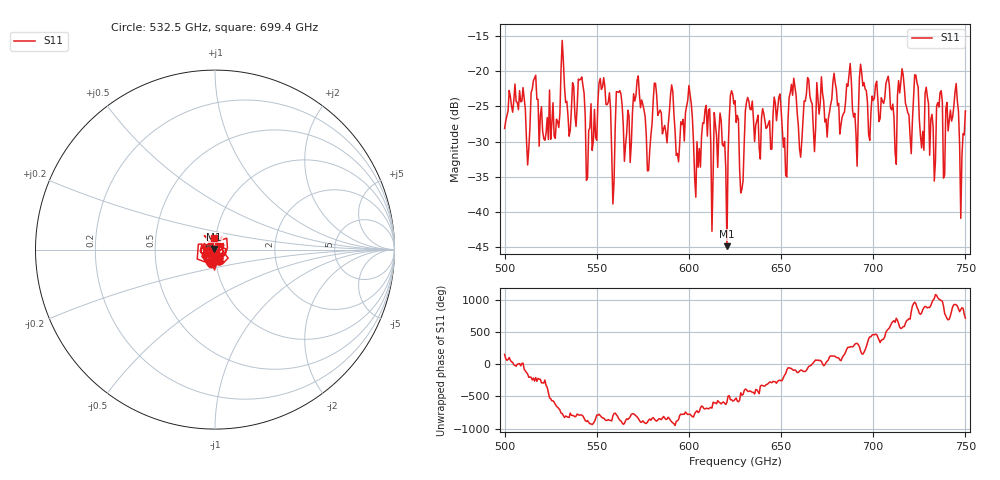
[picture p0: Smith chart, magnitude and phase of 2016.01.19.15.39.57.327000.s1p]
!Created with skrf (http://scikit-rf.org).
# GHz S RI R 50.0
!freq ReS11 ImS11
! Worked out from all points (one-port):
!   401 points, 500 GHz to 750 GHz, reference 50 ohm
!   lowest |S11| = -44.8 dB at 620.6 GHz (marker M1), VSWR 1.01, Z = 49.6 + j0.422 ohm
!   |S11| at or under -10 dB: start of sweep to end of sweep
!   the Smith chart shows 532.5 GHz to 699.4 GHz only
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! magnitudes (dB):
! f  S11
! 500 GHz  -28.1
! 512.5 GHz  -33.3
! 515.6 GHz  -21.3
! 528.1 GHz  -26.8
! 531.2 GHz  -15.6
! 541.9 GHz  -20.8
! 545 GHz  -35.2
! 552.5 GHz  -22.6
! 558.8 GHz  -38.8
! 562.5 GHz  -22.8
! 578.1 GHz  -34.1
! 590.6 GHz  -21.9
! 593.8 GHz  -31.7
! 600 GHz  -22.0
! 603.8 GHz  -37.9
! 610 GHz  -29.2
! 620.6 GHz  -44.8
! 625 GHz  -24.2
! 628.8 GHz  -36.8
! 631.9 GHz  -23.7
! 651.9 GHz  -29.5
! 656.2 GHz  -23.4
! 660.6 GHz  -32.2
! 687.5 GHz  -18.9
! 690.6 GHz  -28.8
! 693.8 GHz  -20.2
! 718.8 GHz  -25.9
! 750 GHz  -25.6
